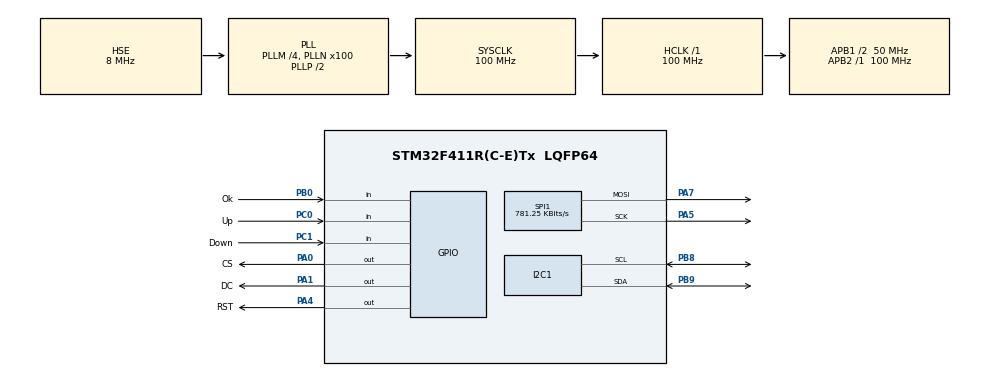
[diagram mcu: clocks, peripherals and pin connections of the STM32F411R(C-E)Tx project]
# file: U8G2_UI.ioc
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I2C1.I2C_Mode=I2C_Fast
Mcu.Family=STM32F4
Mcu.Name=STM32F411R(C-E)Tx
Mcu.Package=LQFP64
NVIC.PriorityGroup=NVIC_PRIORITYGROUP_4
PA0-WKUP.GPIO_Label=CS
PA0-WKUP.Signal=GPIO_Output
PA1.GPIO_Label=DC
PA1.Signal=GPIO_Output
PA4.GPIO_Label=RST
PA4.Signal=GPIO_Output
PA5.Mode=TX_Only_Simplex_Unidirect_Master
PA5.Signal=SPI1_SCK
PA7.Mode=TX_Only_Simplex_Unidirect_Master
PA7.Signal=SPI1_MOSI
PB0.GPIO_Label=Ok
PB0.GPIO_PuPd=GPIO_PULLUP
PB0.Signal=GPIO_Input
PB8.Mode=I2C
PB8.Signal=I2C1_SCL
PB9.Mode=I2C
PB9.Signal=I2C1_SDA
PC0.GPIO_Label=Up
PC0.GPIO_PuPd=GPIO_PULLUP
PC0.Signal=GPIO_Input
PC1.GPIO_Label=Down
PC1.GPIO_PuPd=GPIO_PULLUP
PC1.Signal=GPIO_Input
PH0\ -\ OSC_IN.Mode=HSE-External-Clock-Source
PH0\ -\ OSC_IN.Signal=RCC_OSC_IN
PH1\ -\ OSC_OUT.Mode=HSE-External-Clock-Source
PH1\ -\ OSC_OUT.Signal=RCC_OSC_OUT
ProjectManager.HeapSize=0x200
ProjectManager.StackSize=0x400
ProjectManager.TargetToolchain=STM32CubeIDE
RCC.48MHZClocksFreq_Value=50000000
RCC.AHBFreq_Value=100000000
RCC.APB1CLKDivider=RCC_HCLK_DIV2
RCC.APB1Freq_Value=50000000
RCC.APB1TimFreq_Value=100000000
RCC.APB2Freq_Value=100000000
RCC.APB2TimFreq_Value=100000000
RCC.CortexFreq_Value=100000000
RCC.HCLKFreq_Value=100000000
RCC.HSE_VALUE=8000000
RCC.HSI_VALUE=16000000
RCC.LSE_VALUE=32768
RCC.PLLM=4
RCC.PLLN=100
RCC.PLLSourceVirtual=RCC_PLLSOURCE_HSE
RCC.SYSCLKFreq_VALUE=100000000
RCC.SYSCLKSource=RCC_SYSCLKSOURCE_PLLCLK
RCC.VCOOutputFreq_Value=200000000
SPI1.BaudRatePrescaler=SPI_BAUDRATEPRESCALER_128
SPI1.CalculateBaudRate=781.25 KBits/s
SPI1.Direction=SPI_DIRECTION_2LINES
SPI1.Mode=SPI_MODE_MASTER
SPI1.VirtualType=VM_MASTER
board=custom

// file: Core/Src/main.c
/* USER CODE BEGIN Header */
/**
  ******************************************************************************
  * @file           : main.c
  * @brief          : Main program body
  ******************************************************************************
  * @attention
  *
  * Copyright (c) 2026 STMicroelectronics.
  * All rights reserved.
  *
  * This software is licensed under terms that can be found in the LICENSE file
  * in the root directory of this software component.
  * If no LICENSE file comes with this software, it is provided AS-IS.
  *
  ******************************************************************************
  */
/* USER CODE END Header */
#include "main.h"
#include "i2c.h"
#include "spi.h"
#include "gpio.h"

/* USER CODE BEGIN Includes */
#include "math.h"
#include "u8g2.h"
#include "stdio.h"
#include "math.h"
#include "stdlib.h"
/* USER CODE END Includes */

/* USER CODE BEGIN PV */

u8g2_t myDisplay;

// --- UI and Simulation Variables ---
//static float sim_temp = 25.0f;
//static float sim_cpu = 50.0f;
//static uint8_t sim_load = 50;
//static uint32_t start_tick = 0;

/* USER CODE END PV */

void SystemClock_Config(void);

/* USER CODE BEGIN 0 */
uint8_t u8x8_gpio_and_delay(u8x8_t *u8x8, uint8_t msg, uint8_t arg_int, void *arg_ptr)
{
	switch(msg)
	{
		case U8X8_MSG_DELAY_MILLI:
			HAL_Delay(arg_int);
			break;
		case U8X8_MSG_GPIO_CS:
			HAL_GPIO_WritePin(CS_GPIO_Port, CS_Pin, arg_int);
			break;
		case U8X8_MSG_GPIO_DC:
			HAL_GPIO_WritePin(DC_GPIO_Port, DC_Pin, arg_int);
			break;

		case U8X8_MSG_GPIO_RESET:
			HAL_GPIO_WritePin(RST_GPIO_Port, RST_Pin, arg_int);
			break;

	}
	return 1;
}

uint8_t u8x8_spi(u8x8_t *u8x8, uint8_t msg, uint8_t arg_int, void *arg_ptr)
{

	switch(msg)
	{
		case U8X8_MSG_BYTE_SET_DC:
			HAL_GPIO_WritePin(DC_GPIO_Port, DC_Pin, arg_int);
			break;
		case U8X8_MSG_BYTE_SEND:
			HAL_SPI_Transmit(&hspi1, (uint8_t *)arg_ptr, arg_int, 1000);
			break;
		case U8X8_MSG_BYTE_START_TRANSFER:
			HAL_GPIO_WritePin(CS_GPIO_Port, CS_Pin, GPIO_PIN_SET);
			break;
		case U8X8_MSG_BYTE_END_TRANSFER:
			HAL_GPIO_WritePin(CS_GPIO_Port, CS_Pin, GPIO_PIN_RESET);
			break;

		default: break;

	}
	return 1;
}

uint8_t u8x8_i2c(u8x8_t *u8x8, uint8_t msg, uint8_t arg_int, void *arg_ptr)
{
  static uint8_t buffer[32];		/* u8g2/u8x8 will never send more than 32 bytes between START_TRANSFER and END_TRANSFER */
  static uint8_t buf_idx;
  uint8_t *data;

  switch(msg)
  {
    case U8X8_MSG_BYTE_SEND:
      data = (uint8_t *)arg_ptr;
      while( arg_int > 0 )
      {
	buffer[buf_idx++] = *data;
	data++;
	arg_int--;
      }
      break;
    case U8X8_MSG_BYTE_START_TRANSFER:
      buf_idx = 0;
      break;
    case U8X8_MSG_BYTE_END_TRANSFER:
		#define OLED_Addr (0x3D<<1)
    	HAL_I2C_Master_Transmit(&hi2c1, OLED_Addr, buffer, buf_idx, 100);
      break;
    default:
      return 0;
  }
  return 1;
}

// Helper function to draw a horizontal progress bar
void draw_progress_bar(uint8_t x, uint8_t y, uint8_t w, uint8_t h, uint8_t percentage) {
    // 1. Draw the outer border
    u8g2_DrawFrame(&myDisplay, x, y, w, h);

    // 2. Calculate fill width based on percentage
    uint8_t fill_w = (uint8_t)((w - 2) * percentage / 100.0f);

    // 3. Draw the solid fill inside the border
    if (fill_w > 0) {
        u8g2_DrawBox(&myDisplay, x + 1, y + 1, fill_w, h - 2);
    }
}

//// The main UI rendering function
//void render_ui(void) {
//    // 1. Gather data
//    uint32_t uptime = (HAL_GetTick() - start_tick) / 1000; // Seconds since boot
//
//    // 2. Format data into strings
//    char temp_str[20];
//    char cpu_str[20];
//    char time_str[20];
//    char load_str[20];
//
//    // Convert seconds to HH:MM:SS
//    uint32_t h = uptime / 3600;
//    uint32_t m = (uptime % 3600) / 60;
//    uint32_t s = uptime % 60;
//
//    snprintf(temp_str, sizeof(temp_str), "Core:  %.1f C", sim_temp);
//    snprintf(cpu_str, sizeof(cpu_str), "CPU:   %.1f %%", sim_cpu);
//    snprintf(time_str, sizeof(time_str), "Time:  %02d:%02d:%02d", h, m, s);
//    snprintf(load_str, sizeof(load_str), "%d%%", sim_load);
//
//    // 3. Clear the internal buffer
//    u8g2_ClearBuffer(&myDisplay);
//
//    // 4. Draw the Header (Using a bold font)
//    u8g2_SetFont(&myDisplay, u8g2_font_6x13B_tr);
//    u8g2_DrawStr(&myDisplay, 0, 10, "TEMP STATUS");
//    u8g2_DrawHLine(&myDisplay, 0, 13, 128); // Underline the header
//
//    // 5. Draw the Text Data (Using a standard font)
//    u8g2_SetFont(&myDisplay, u8g2_font_6x10_tr);
//    u8g2_DrawStr(&myDisplay, 0, 28, temp_str);
//    u8g2_DrawStr(&myDisplay, 0, 42, cpu_str);
//    u8g2_DrawStr(&myDisplay, 0, 54, time_str);
//
//    // 6. Draw the Progress Bar
//    u8g2_SetFont(&myDisplay, u8g2_font_5x7_tr);
//    u8g2_DrawStr(&myDisplay, 0, 63, "LOAD");
//    draw_progress_bar(25, 56, 85, 7, sim_load);
//
//    // Draw percentage text at the end of the bar
//    u8g2_DrawStr(&myDisplay, 112, 63, load_str);
//
//    // 7. Send the buffer to the screen
//    u8g2_SendBuffer(&myDisplay);
//}
//
//
//
//
//#define NUM_BARS 16
//#define MAX_BAR_HEIGHT 40
//
//void render_audio_visualizer(void) {
//    static uint32_t last_update = 0;
//    static float time_counter = 0.0f;
//
//    /* Persistent peak markers that slowly fall down */
//    static uint8_t peak_heights[NUM_BARS] = {0};
//    static float peak_fall_speed[NUM_BARS] = {0};
//
//    uint32_t now = HAL_GetTick();
//
//    /* Update ~30 frames per second (non-blocking) */
//    if (now - last_update > 33) {
//        last_update = now;
//        time_counter += 0.15f;
//
//        u8g2_ClearBuffer(&myDisplay);
//
//        /* 1. Draw UI Header */
//        u8g2_SetFont(&myDisplay, u8g2_font_5x7_tr);
//        u8g2_DrawStr(&myDisplay, 0, 7, "AUDIO SCAN");
//
//        /* Sweeping needle that triggers the bars */
//        uint8_t needle_x = (uint8_t)((sinf(time_counter * 0.5f) + 1.0f) * 60.0f);
//        u8g2_DrawLine(&myDisplay, needle_x, 2, needle_x + 4, 7);
//        u8g2_DrawLine(&myDisplay, needle_x, 2, needle_x - 4, 7);
//        u8g2_DrawVLine(&myDisplay, needle_x, 0, 8);
//
//        /* Right aligned dB text */
//        u8g2_DrawStr(&myDisplay, 100, 7, "-12.4dB");
//
//        u8g2_DrawHLine(&myDisplay, 0, 9, 128);
//
//        /* 2. Draw the 16 Spectrum Bars */
//        for (int i = 0; i < NUM_BARS; i++) {
//            /* Simulate an audio curve (lower freqs have higher amplitude, falls off to right) */
//            float base_amp = (1.0f - (float)i / NUM_BARS) * 0.6f + 0.1f;
//
//            /* Create dynamic waveforms with slightly different sine frequencies */
//            float wave1 = sinf(time_counter + i * 0.3f);
//            float wave2 = sinf(time_counter * 1.3f + i * 0.1f);
//            float combined_wave = (wave1 + wave2) / 2.0f; /* Range: -1.0 to 1.0 */
//
//            uint8_t bar_val = (uint8_t)((combined_wave + 1.0f) * base_amp * (MAX_BAR_HEIGHT / 2.0f));
//
//            /* Force trigger specific bars when the needle passes over them */
//            if (abs(needle_x - (i * 8 + 4)) < 6) {
//                bar_val = MAX_BAR_HEIGHT - (rand() % 10);
//            }
//
//            if (bar_val > MAX_BAR_HEIGHT) bar_val = MAX_BAR_HEIGHT;
//
//            /* Update persistent peaks */
//            if (bar_val > peak_heights[i]) {
//                peak_heights[i] = bar_val;
//                peak_fall_speed[i] = 0;
//            } else {
//                peak_fall_speed[i] += 0.2f; /* Gravity accelerating */
//                peak_heights[i] -= (uint8_t)peak_fall_speed[i];
//                if (peak_heights[i] > MAX_BAR_HEIGHT) peak_heights[i] = 0; /* Underflow check */
//            }
//
//            /* Draw the main bar (Solid) */
//            uint8_t bar_x = i * 8;
//            uint8_t bar_y = 10 + (MAX_BAR_HEIGHT - bar_val);
//            u8g2_DrawBox(&myDisplay, bar_x + 1, bar_y, 6, bar_val);
//
//            /* Draw the peak marker (line on top) */
//            uint8_t peak_y = 10 + (MAX_BAR_HEIGHT - peak_heights[i]);
//            u8g2_DrawHLine(&myDisplay, bar_x + 1, peak_y, 6);
//
//            /* Draw a centered baseline shadow */
//            uint8_t mid_y = 10 + (MAX_BAR_HEIGHT / 2);
//            u8g2_DrawHLine(&myDisplay, bar_x + 1, mid_y, 6);
//        }
//
//        /* 3. Draw the Sub-bass bouncing bar at the bottom */
//        float sub_wave = (sinf(time_counter * 0.8f) + 1.0f) / 2.0f; /* 0.0 to 1.0 */
//        uint8_t sub_h = (uint8_t)(sub_wave * 10.0f);
//        u8g2_DrawBox(&myDisplay, 0, 64 - sub_h, 128, sub_h);
//
//        /* 4. Draw moving tick marks over the sub bar */
//        for (int i = 0; i < 8; i++) {
//            int tick_x = ((int)(time_counter * 10) + i * 20) % 140 - 10;
//            u8g2_DrawVLine(&myDisplay, tick_x, 60, 4);
//        }
//
//        u8g2_SendBuffer(&myDisplay);
//    }
//}

/* --- Menu Enums & Structs --- */
typedef enum {
    MENU_ACTION_NONE,
    MENU_ACTION_OPEN_SUBMENU,
    MENU_ACTION_BACK,
    MENU_ACTION_TOGGLE,
    MENU_ACTION_ACTION_1,
    MENU_ACTION_ACTION_2
} MenuAction_t;

typedef struct {
    const char* name;
    MenuAction_t action;
    uint8_t* value_ptr;
} MenuItem_t;

typedef struct {
    const char* title;
    const MenuItem_t* items;
    uint8_t item_count;
} MenuScreen_t;

/* --- Define Your Menus --- */
const MenuItem_t sub2_items[] = {
    {"Option A", MENU_ACTION_NONE, NULL},
    {"Option B", MENU_ACTION_NONE, NULL},
    {"Option C", MENU_ACTION_NONE, NULL},
    {"Back",    MENU_ACTION_BACK,  NULL}
};

static uint8_t setting_led_state = 1;
static uint8_t setting_buzz_state = 0;

const MenuItem_t sub1_items[] = {
    {"LED Enable",  MENU_ACTION_TOGGLE, &setting_led_state},
    {"Buzzer Enbl", MENU_ACTION_TOGGLE, &setting_buzz_state},
    {"Sub 2",       MENU_ACTION_OPEN_SUBMENU, NULL},
    {"Back",        MENU_ACTION_BACK,  NULL}
};

const MenuItem_t main_items[] = {
    {"Start System", MENU_ACTION_ACTION_1, NULL},
    {"View Data",    MENU_ACTION_ACTION_2, NULL},
    {"Settings",     MENU_ACTION_OPEN_SUBMENU, NULL},
    {"Reboot",       MENU_ACTION_NONE, NULL}
};

const MenuScreen_t screens[] = {
    {"MAIN MENU", main_items, 4},
    {"SETTINGS",  sub1_items, 4},
    {"SUB MENU 2",sub2_items, 4}
};

/* --- Menu State Variables --- */
#define MAX_SCREENS_DEPTH 3
uint8_t screen_stack[MAX_SCREENS_DEPTH] = {0, 0, 0};
uint8_t screen_stack_idx = 0;
uint8_t selected_item = 0;

/* --- UI Layout Variables --- */
#define MENU_FONT      u8g2_font_6x10_tr
#define MENU_FONT_REG  u8g2_font_6x10_tr
#define ITEM_HEIGHT    12
#define MAX_VISIBLE    4

/* --- Redraw Flag --- */
volatile uint8_t ui_needs_update = 1;

/* --- Drawing Logic --- */
void render_menu_ui(void) {
    uint8_t current_screen_idx = screen_stack[screen_stack_idx];
    const MenuScreen_t* current_screen = &screens[current_screen_idx];

    u8g2_ClearBuffer(&myDisplay);

    // 1. Draw Title Bar
    u8g2_SetFont(&myDisplay, MENU_FONT);
    u8g2_DrawBox(&myDisplay, 0, 0, 128, 12);
    u8g2_SetDrawColor(&myDisplay, 0);
    u8g2_DrawStr(&myDisplay, 2, 10, current_screen->title);
    u8g2_SetDrawColor(&myDisplay, 1);

    // 2. Draw Scroll Indicator
    if (current_screen->item_count > MAX_VISIBLE) {
        uint8_t scroll_track_h = MAX_VISIBLE * ITEM_HEIGHT;
        uint8_t scroll_thumb_h = (scroll_track_h * MAX_VISIBLE) / current_screen->item_count;
        uint8_t scroll_thumb_y = 13 + ((selected_item * scroll_track_h) / current_screen->item_count);
        u8g2_DrawVLine(&myDisplay, 126, 13, scroll_track_h);
        u8g2_DrawBox(&myDisplay, 125, scroll_thumb_y, 3, scroll_thumb_h);
    }

    // 3. Draw Menu Items
    uint8_t start_idx = 0;
    if (current_screen->item_count > MAX_VISIBLE && selected_item >= MAX_VISIBLE - 1) {
        start_idx = selected_item - (MAX_VISIBLE - 2);
        if (start_idx + MAX_VISIBLE > current_screen->item_count) {
            start_idx = current_screen->item_count - MAX_VISIBLE;
        }
    }

    u8g2_SetFont(&myDisplay, MENU_FONT_REG);
    for (uint8_t i = 0; i < MAX_VISIBLE && (start_idx + i) < current_screen->item_count; i++) {
        uint8_t item_idx = start_idx + i;
        uint8_t y_pos = 14 + (i * ITEM_HEIGHT);

        if (item_idx == selected_item) {
            u8g2_DrawBox(&myDisplay, 0, y_pos - 1, 124, ITEM_HEIGHT);
            u8g2_SetDrawColor(&myDisplay, 0);
        } else {
            u8g2_SetDrawColor(&myDisplay, 1);
        }

        u8g2_DrawStr(&myDisplay, 2, y_pos + 7, current_screen->items[item_idx].name);

        if (current_screen->items[item_idx].action == MENU_ACTION_TOGGLE) {
            if (current_screen->items[item_idx].value_ptr != NULL) {
                uint8_t val = *(current_screen->items[item_idx].value_ptr);
                const char* state_str = val ? "[ON]" : "[OFF]";
                u8g2_DrawStr(&myDisplay, 95, y_pos + 7, state_str);
            }
        }
        u8g2_SetDrawColor(&myDisplay, 1);
    }
    u8g2_SendBuffer(&myDisplay);
}

/* --- Input Handling Logic --- */
void menu_handle_up(void) {
    uint8_t current_screen_idx = screen_stack[screen_stack_idx];
    uint8_t item_count = screens[current_screen_idx].item_count;
    if (selected_item > 0) selected_item--;
    else selected_item = item_count - 1; // Wrap around
    ui_needs_update = 1;
}

void menu_handle_down(void) {
    uint8_t current_screen_idx = screen_stack[screen_stack_idx];
    uint8_t item_count = screens[current_screen_idx].item_count;
    if (selected_item < item_count - 1) selected_item++;
    else selected_item = 0; // Wrap around
    ui_needs_update = 1;
}

void menu_handle_ok(void) {
    uint8_t current_screen_idx = screen_stack[screen_stack_idx];
    const MenuItem_t* selected_menu_item = &screens[current_screen_idx].items[selected_item];

    switch (selected_menu_item->action) {
        case MENU_ACTION_OPEN_SUBMENU:
            if (screen_stack_idx < MAX_SCREENS_DEPTH - 1) {
                screen_stack_idx++;
                if (current_screen_idx == 0 && selected_item == 2) screen_stack[screen_stack_idx] = 1;
                else if (current_screen_idx == 1 && selected_item == 2) screen_stack[screen_stack_idx] = 2;
                selected_item = 0;
            }
            break;
        case MENU_ACTION_BACK:
            if (screen_stack_idx > 0) {
                screen_stack_idx--;
                selected_item = 0;
            }
            break;
        case MENU_ACTION_TOGGLE:
            if (selected_menu_item->value_ptr != NULL) {
                *(selected_menu_item->value_ptr) = !(*(selected_menu_item->value_ptr));
            }
            break;
        case MENU_ACTION_ACTION_1:
            // Do something (Start System)
            break;
        case MENU_ACTION_ACTION_2:
            // Do something (View Data)
            break;
        default:
            break;
    }
    ui_needs_update = 1;
}

/* USER CODE END 0 */

int main(void)
{

  /* MCU Configuration--------------------------------------------------------*/

  /* Reset of all peripherals, Initializes the Flash interface and the Systick. */
  HAL_Init();

  /* Configure the system clock */
  SystemClock_Config();

  /* Initialize all configured peripherals */
  MX_GPIO_Init();
  MX_SPI1_Init();
  MX_I2C1_Init();
  /* USER CODE BEGIN 2 */
  //u8g2_Setup_st7920_s_128x64_f(&myDisplay, U8G2_R0, u8x8_spi, u8x8_gpio_and_delay);
  u8g2_Setup_ssd1306_i2c_128x64_noname_f(&myDisplay, U8G2_R0, u8x8_i2c, u8x8_gpio_and_delay);

    u8g2_InitDisplay(&myDisplay);
    u8g2_SetPowerSave(&myDisplay, 0);
    u8g2_ClearBuffer(&myDisplay);

    render_menu_ui();

//	// Record start time
//	start_tick = HAL_GetTick();
//
//	uint32_t last_update = 0;
//	float time_counter = 0.0f; // Used for sine wave simulation
  /* USER CODE END 2 */

  /* Infinite loop */
  while (1)
  {

    /* USER CODE BEGIN 3 */
//	  uint32_t now = HAL_GetTick();
////
////	  // Update UI roughly 20 times per second (every 50ms)
//	          if (now - last_update > 50) {
//	              last_update = now;
//
//	              // Increment time counter (0.05f matches the 50ms interval)
//	              time_counter += 0.05f;
//
//	              // --- Simulate Data Changing ---
//
//	              // Temperature oscillates smoothly between 20.0 and 45.0 C
//	              // sin(x) returns -1 to 1. We scale it to 0 to 1, then multiply by 25, and add 20.
//	              sim_temp = 20.0f + ((sinf(time_counter * 0.5f) + 1.0f) / 2.0f) * 25.0f;
//
//	              // CPU oscillates smoothly between 10% and 90%
//	              sim_cpu = 10.0f + ((sinf(time_counter * 0.8f + 1.0f) + 1.0f) / 2.0f) * 80.0f;
//
//	              // Load increments and decrements based on CPU
//	              // Use a sine wave for smooth 0-100% sweeping
//	              sim_load = (uint8_t)(((sinf(time_counter * 0.4f) + 1.0f) / 2.0f) * 100.0f);
//
//	              // --- Render the UI ---
//	              render_ui();
//	          }

//	  render_audio_visualizer();

	  // 1. Read Buttons with simple software debounce (200ms)
	        static uint32_t last_btn_tick = 0;
	        uint32_t now = HAL_GetTick();

	        if (now - last_btn_tick > 200) {

	            if (HAL_GPIO_ReadPin(Up_GPIO_Port, Up_Pin) == GPIO_PIN_RESET) {
	                menu_handle_up();
	                last_btn_tick = now;
	            }
	            else if (HAL_GPIO_ReadPin(Down_GPIO_Port, Down_Pin) == GPIO_PIN_RESET) {
	                menu_handle_down();
	                last_btn_tick = now;
	            }
	            else if (HAL_GPIO_ReadPin(Ok_GPIO_Port, Ok_Pin) == GPIO_PIN_RESET) {
	                menu_handle_ok();
	                last_btn_tick = now;
	            }
	        }

	        // 2. State Machine for UI Redraw
	        // Only draw if a button was pressed
	        if (ui_needs_update) {
	            render_menu_ui();
	            ui_needs_update = 0; // Clear the flag
	        }
  }
  /* USER CODE END 3 */
}

void SystemClock_Config(void)
{
  RCC_OscInitTypeDef RCC_OscInitStruct = {0};
  RCC_ClkInitTypeDef RCC_ClkInitStruct = {0};

  /** Configure the main internal regulator output voltage
  */
  __HAL_RCC_PWR_CLK_ENABLE();
  __HAL_PWR_VOLTAGESCALING_CONFIG(PWR_REGULATOR_VOLTAGE_SCALE1);

  /** Initializes the RCC Oscillators according to the specified parameters
  * in the RCC_OscInitTypeDef structure.
  */
  RCC_OscInitStruct.OscillatorType = RCC_OSCILLATORTYPE_HSE;
  RCC_OscInitStruct.HSEState = RCC_HSE_BYPASS;
  RCC_OscInitStruct.PLL.PLLState = RCC_PLL_ON;
  RCC_OscInitStruct.PLL.PLLSource = RCC_PLLSOURCE_HSE;
  RCC_OscInitStruct.PLL.PLLM = 4;
  RCC_OscInitStruct.PLL.PLLN = 100;
  RCC_OscInitStruct.PLL.PLLP = RCC_PLLP_DIV2;
  RCC_OscInitStruct.PLL.PLLQ = 4;
  if (HAL_RCC_OscConfig(&RCC_OscInitStruct) != HAL_OK)
  {
    Error_Handler();
  }

  /** Initializes the CPU, AHB and APB buses clocks
  */
  RCC_ClkInitStruct.ClockType = RCC_CLOCKTYPE_HCLK|RCC_CLOCKTYPE_SYSCLK
                              |RCC_CLOCKTYPE_PCLK1|RCC_CLOCKTYPE_PCLK2;
  RCC_ClkInitStruct.SYSCLKSource = RCC_SYSCLKSOURCE_PLLCLK;
  RCC_ClkInitStruct.AHBCLKDivider = RCC_SYSCLK_DIV1;
  RCC_ClkInitStruct.APB1CLKDivider = RCC_HCLK_DIV2;
  RCC_ClkInitStruct.APB2CLKDivider = RCC_HCLK_DIV1;

  if (HAL_RCC_ClockConfig(&RCC_ClkInitStruct, FLASH_LATENCY_3) != HAL_OK)
  {
    Error_Handler();
  }
}

void Error_Handler(void)
{
  __disable_irq();
  while (1)
  {
  }
}
